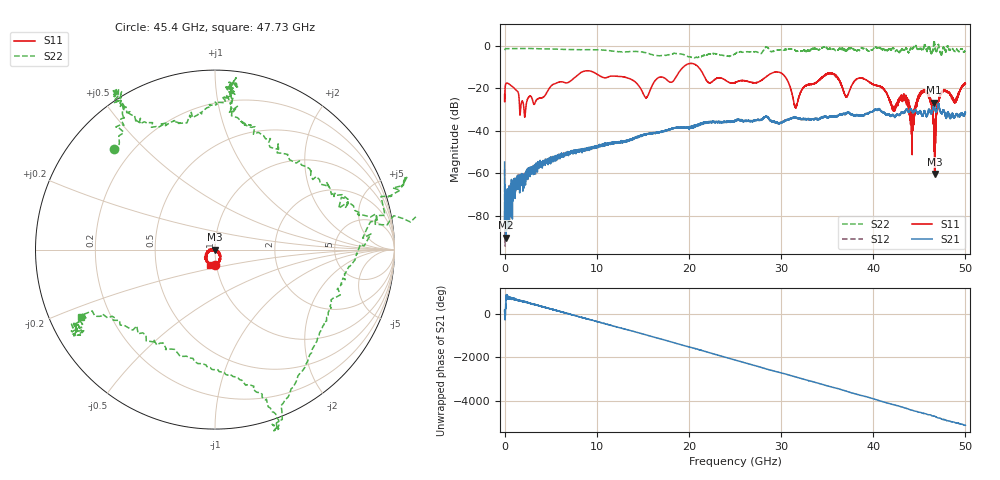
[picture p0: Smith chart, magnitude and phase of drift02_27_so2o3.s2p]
!Created with skrf (http://scikit-rf.org).
# Hz S RI R 50.0
!freq ReS11 ImS11 ReS21 ImS21 ReS12 ImS12 ReS22 ImS22
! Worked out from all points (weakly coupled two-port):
!   10001 points, 300 kHz to 50 GHz, reference 50 ohm
!   highest |S21| = -26.85 dB at 46.6 GHz (marker M1); lowest = -90.1 dB at 140.3 MHz (marker M2)
!   lowest |S11| = -60.3 dB at 46.68 GHz (marker M3), VSWR 1.00, Z = 49.9 - j0.0209 ohm
!   |S11| at or under -10 dB: start of sweep to 19.42 GHz; 21.00505 GHz to 21.00559 GHz (537 kHz wide, 0.00256 % of centre); 21.01 GHz to end of sweep
!   |S22| runs from -5.7 to 2.4 dB; largest |S21 - S12| = 0.0036
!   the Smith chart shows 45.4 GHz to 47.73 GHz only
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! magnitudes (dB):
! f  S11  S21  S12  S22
! 300 kHz  -23.0  -54.7  -58.3  -2.1
! 140.3 MHz  -17.8  -90.1  -77.6  -1.5
! 2.19 GHz  -33.6  -62.7  -62.0  -1.3
! 8.335 GHz  -12.5  -49.2  -48.8  -1.9
! 15.34 GHz  -24.4  -41.6  -41.5  -3.4
! 16.67 GHz  -15.1  -40.7  -40.8  -4.7
! 20.28 GHz  -8.4  -38.5  -38.3  -5.5
! 25 GHz  -17.4  -35.3  -35.3  -3.9
! 29.85 GHz  -12.6  -36.4  -36.4  -2.0
! 31.59 GHz  -29.1  -33.8  -34.0  -2.4
! 33.34 GHz  -18.2  -34.3  -34.4  -1.5
! 35.59 GHz  -13.3  -33.2  -33.4  -1.6
! 37.1 GHz  -24.2  -31.6  -31.8  -2.2
! 38.76 GHz  -15.3  -32.7  -32.7  -1.0
! 41.67 GHz  -24.3  -32.2  -32.2  -1.8
! 43.43 GHz  -24.0  -31.2  -31.1  -1.9
! 44.25 GHz  -35.9  -30.9  -31.0  -1.3
! 45.7 GHz  -21.4  -32.2  -32.3  -0.7
! 46.6 GHz  -38.3  -26.9  -27.0  1.9
! 46.68 GHz  -60.3  -28.7  -28.7  0.0
! 47.48 GHz  -22.0  -31.6  -31.6  -3.3
! 50 GHz  -18.0  -31.4  -31.7  -2.7
